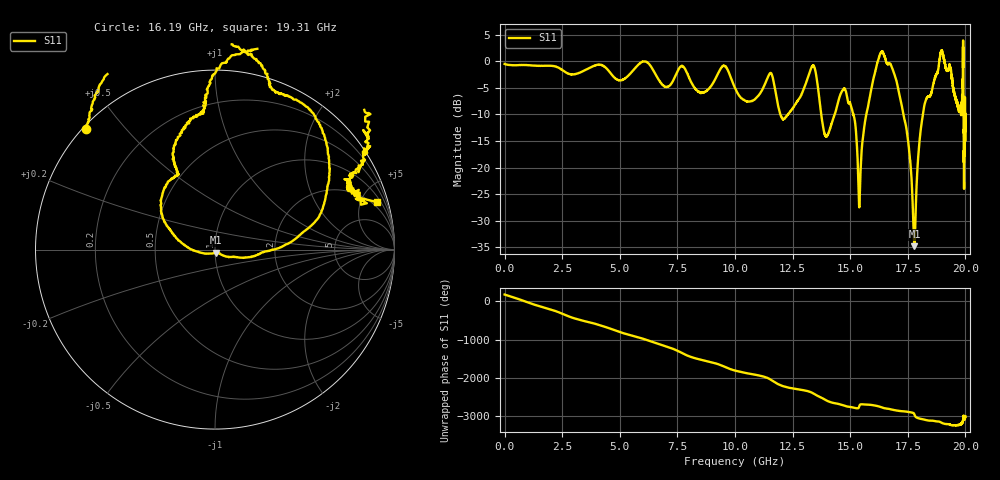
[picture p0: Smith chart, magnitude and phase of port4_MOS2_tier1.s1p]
! Created with skrf 1.8.0 (http://scikit-rf.org).
# GHz S RI R 50.0
!freq ReS11 ImS11
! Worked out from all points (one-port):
!   10001 points, 1 MHz to 20 GHz, reference 50 ohm
!   lowest |S11| = -34.8 dB at 17.79 GHz (marker M1), VSWR 1.04, Z = 50.3 - j1.8 ohm
!   |S11| at or under -10 dB: 13.74 GHz to 14.33 GHz (582.8 MHz wide, 4.15 % of centre); 15.14 GHz to 15.7 GHz (562.9 MHz wide, 3.65 % of centre); 17.31 GHz to 18.16 GHz (844.2 MHz wide, 4.76 % of centre) (the widest 3 of 12)
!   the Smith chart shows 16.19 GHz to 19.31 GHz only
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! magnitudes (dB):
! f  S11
! 1 MHz  -0.5
! 2.501 GHz  -1.6
! 5.001 GHz  -3.6
! 6.037 GHz  0.0
! 6.977 GHz  -4.8
! 7.501 GHz  -1.9
! 8.585 GHz  -5.9
! 9.539 GHz  -0.8
! 10 GHz  -5.0
! 10.75 GHz  -7.5
! 11.54 GHz  -2.2
! 12.03 GHz  -10.6
! 12.5 GHz  -8.9
! 13.38 GHz  -0.8
! 13.94 GHz  -14.1
! 14.67 GHz  -5.5
! 15 GHz  -7.9
! 15.19 GHz  -10.9
! 15.41 GHz  -25.7
! 15.71 GHz  -9.7
! 16.4 GHz  1.8
! 16.96 GHz  -3.0
! 17.5 GHz  -14.5
! 17.79 GHz  -34.8
! 18 GHz  -15.6
! 18.16 GHz  -9.8
! 18.95 GHz  1.8
! 20 GHz  -11.6
